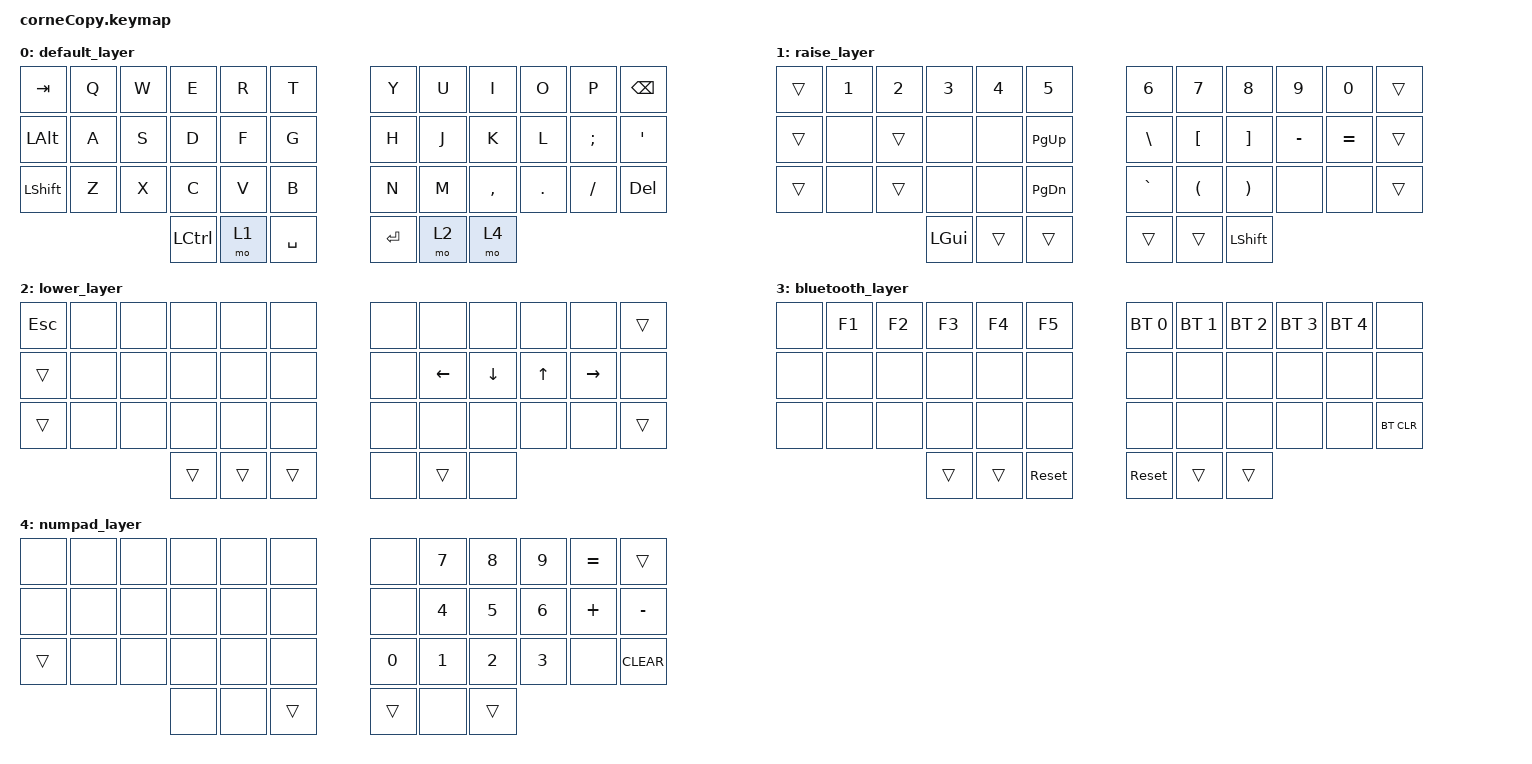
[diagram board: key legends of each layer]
/*
 * Copyright (c) 2020 The ZMK Contributors
 *
 * SPDX-License-Identifier: MIT
 */

#include <behaviors.dtsi>
#include <dt-bindings/zmk/keys.h>
#include <dt-bindings/zmk/bt.h>

#define DEFAULT 0
#define raise 1
#define lower 2
#define bluetooth 3
#define numpad 4


&mt {
    tapping-term-ms = <300>;
};


/ {
        conditional_layers {
                compatible = "zmk,conditional-layers";
                tri_layer {
                        if-layers = <1 2>;
                        then-layer = <3>;
                };
        };

        behaviors {
           td_boot: tap_dance_bootloader {
                compatible = "zmk,behavior-tap-dance";
                label = "TAP_DANCE_BOOTLOADER";
                #binding-cells = <0>;
                tapping-term-ms = <200>;
                bindings = <&kp N1>, <&kp N2>, <&kp N3>;
           };
 
        };

        keymap {
                compatible = "zmk,keymap";


                default_layer {
// -----------------------------------------------------------------------------------------
// |  TAB |  Q  |  W  |  E  |  R  |  T  |   |  Y  |  U   |  I  |  O  |  P  | BKSP |
// | ALT |  A  |  S  |  D  |  F  |  G  |   |  H  |  J   |  K  |  L  |  ;  |  '   |
// | SHIFT |  Z  |  X  |  C  |  V  |  B  |   |  N  |  M   |  ,  |  .  |  /  | DEL |
//                    |  CTRL | RSE | SPC |   | ENT |  LWR | LALT  |
// -----------------------------------------------------------------------------------------

                        bindings = <
   &kp TAB        &kp Q &kp W &kp E &kp R &kp T      &kp Y &kp U  &kp I     &kp O   &kp P     &kp BSPC
   &kp LALT       &kp A &kp S &kp D &kp F &kp G      &kp H &kp J  &kp K     &kp L   &kp SEMI  &kp SQT
   &kp LSHIFT     &kp Z &kp X &kp C &kp V &kp B      &kp N &kp M  &kp COMMA &kp DOT &kp FSLH  &kp DEL
                     &kp LCTRL &mo 1  &kp SPACE      &kp RET &mo 2 &mo 4
                        >;
                };

                raise_layer {
                        bindings = <
   &trans    &kp N1   &kp N2    &kp N3   &kp N4   &kp N5            &kp N6      &kp N7      &kp N8       &kp N9      &kp N0     &trans
   &trans    &none    &trans    &none    &none    &kp PG_UP         &kp BSLH    &kp LBKT    &kp RBKT     &kp MINUS   &kp EQUAL  &trans
   &trans    &none    &trans    &none    &none    &kp PG_DN         &kp GRAVE   &kp LPAR    &kp RPAR     &none       &none      &trans 
                            &kp LGUI     &trans    &trans           &trans   &trans   &kp LSHIFT
                        >;
                };

                lower_layer {
                        bindings = <
   &kp ESC      &none    &none    &none    &none      &none           &none    &none     &none    &none      &none      &trans 
   &trans       &none    &none    &none    &none      &none           &none    &kp LEFT  &kp DOWN   &kp UP   &kp RIGHT  &none
   &trans       &none    &none    &none    &none      &none           &none    &none     &none    &none      &none      &trans
                                &trans    &trans     &trans           &none    &trans    &none
                        >;
                };

                bluetooth_layer {
                        bindings = <
    &none     &kp F1   &kp F2  &kp F3   &kp F4   &kp F5            &bt BT_SEL 0   &bt BT_SEL 1  &bt BT_SEL 2   &bt BT_SEL 3   &bt BT_SEL 4   &none 
    &none     &none    &none   &none    &none    &none             &none    &none    &none    &none    &none    &none
    &none     &none    &none   &none    &none    &none             &none    &none    &none    &none    &none    &bt BT_CLR  
                               &trans   &trans   &sys_reset        &sys_reset    &trans   &trans
                        >;
                };

                    numpad_layer {
                        bindings = <
    &none     &none    &none   &none    &none    &none             &none        &kp N7     &kp N8     &kp N9     &kp EQUAL   &trans
    &none     &none    &none   &none    &none    &none             &none        &kp N4     &kp N5     &kp N6     &kp PLUS    &kp MINUS
    &trans    &none    &none   &none    &none    &none             &kp N0       &kp N1     &kp N2     &kp N3     &none       &kp CLEAR
                              &none     &none    &trans            &trans    &none    &trans
                        >;
                };
        };
};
